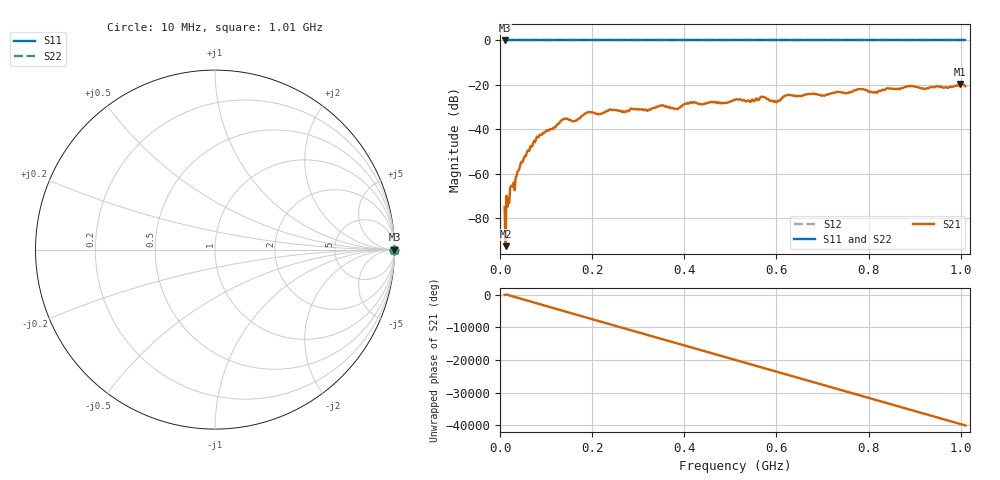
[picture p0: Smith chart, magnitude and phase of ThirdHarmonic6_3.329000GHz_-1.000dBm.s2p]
! 8/17/2025 10:27:12 AM
! C:\ANRITSUVNA\TEMP\TEMP.S2P
! CHANNEL.1
! TR.MEASUREMENT
! RAW.DATA
! RF.CORRECTION.OFF
! AVERAGING.OFF
! IF.BANDWIDTH: 5KHZ
! SWEEPTYPE:  FREQ.SWEEP(Linear)
! Reference Plane Port Info
! PORT:  PORT1  PORT2
! DISTANCE:  0  m  0  m
! TIME:  0  s  0  s
! PHASE.OFFSET:  0  deg.  0  deg.
! LOSS:  0  dB  0  dB
! REF.LOSS:  0  dB  0  dB
! REF.FREQ:  0  Hz  0  Hz
! Power Info
! POWER:  -20  dBm  -20  dBm
! EFF.POWER:  -20  dBm  -20  dBm
! SOURCE.ATTEN:  0  dB  0  dB
! TEST.ATTEN:  0  dB  0  dB
# GHZ S RI R 50.0
! FREQ.GHZ  S11RE  S11IM  S21RE  S21IM  S12RE  S12IM  S22RE  S22IM
!; PortSelection: Port_12
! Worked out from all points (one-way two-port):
!   501 points, 10 MHz to 1.01 GHz, reference 50 ohm
!   highest |S21| = -19.55 dB at 998 MHz (marker M1); lowest = -92.4 dB at 12 MHz (marker M2)
!   lowest |S11| = 0.0 dB at 10 MHz (marker M3)
!   |S11| at or under -10 dB: nowhere
!   |S22| runs from 0.0 to 0.0 dB; largest |S21 - S12| = 1.1
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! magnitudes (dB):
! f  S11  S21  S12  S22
! 10 MHz  0.0  -74.8  0.0  0.0
! 12 MHz  0.0  -92.4  0.0  0.0
! 42 MHz  0.0  -57.8  0.0  0.0
! 78 MHz  0.0  -44.6  0.0  0.0
! 136 MHz  0.0  -35.6  0.0  0.0
! 162 MHz  0.0  -36.3  0.0  0.0
! 178 MHz  0.0  -33.9  0.0  0.0
! 194 MHz  0.0  -32.3  0.0  0.0
! 322 MHz  0.0  -31.2  0.0  0.0
! 344 MHz  0.0  -29.7  0.0  0.0
! 382 MHz  0.0  -30.8  0.0  0.0
! 416 MHz  0.0  -28.1  0.0  0.0
! 510 MHz  0.0  -26.6  0.0  0.0
! 570 MHz  0.0  -25.3  0.0  0.0
! 598 MHz  0.0  -27.6  0.0  0.0
! 624 MHz  0.0  -24.5  0.0  0.0
! 678 MHz  0.0  -24.0  0.0  0.0
! 784 MHz  0.0  -21.9  0.0  0.0
! 814 MHz  0.0  -23.2  0.0  0.0
! 844 MHz  0.0  -21.6  0.0  0.0
! 998 MHz  0.0  -19.5  0.0  0.0
! 1.01 GHz  0.0  -20.5  0.0  0.0
